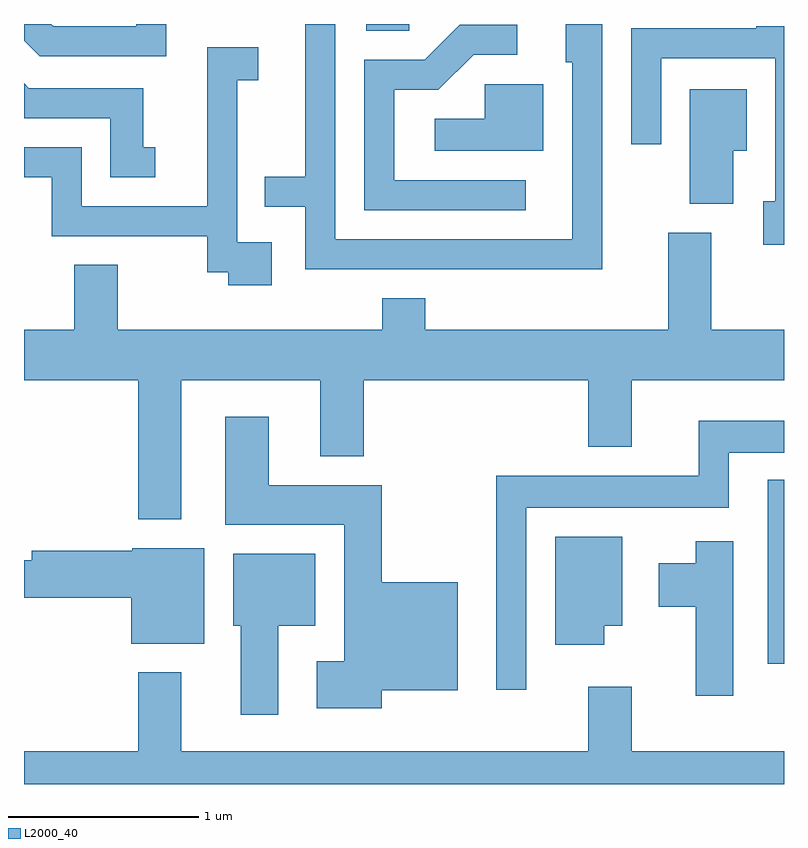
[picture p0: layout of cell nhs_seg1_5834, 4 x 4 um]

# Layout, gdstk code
import gdstk
lib = gdstk.Library(unit=1e-6, precision=1e-09)
def R(c, l, rs):  # rectangles x0, y0, x1, y1
    for r in rs: c.add(gdstk.rectangle(r[:2], r[2:], *l))
def P(c, l, *ps):  # polygons
    for p in ps: c.add(gdstk.Polygon(p, *l))
L2000_40 = (2000, 40)

nhs_seg1_5834 = lib.new_cell('nhs_seg1_5834')
R(nhs_seg1_5834, L2000_40, [(365.526,860.346,365.611,861.313), (363.411,863.676,363.639,863.712)])
P(nhs_seg1_5834, L2000_40, [(362.359,863.712),(362.201,863.712),(362.201,863.699),(361.767,863.699),(361.754,863.712),(361.611,863.712),(361.611,863.624),(361.694,863.541),(362.359,863.541)],
  [(364.654,863.712),(364.461,863.712),(364.461,863.511),(364.496,863.511),(364.496,862.579),(363.249,862.579),(363.249,863.712),(363.091,863.712),(363.091,862.909),(362.878,862.909),(362.878,862.751),(363.091,862.751),(363.091,862.421),(364.654,862.421)],
  [(364.253,862.889),(363.559,862.889),(363.559,863.366),(363.792,863.366),(363.977,863.551),(364.208,863.551),(364.208,863.709),(363.904,863.709),(363.719,863.524),(363.401,863.524),(363.401,862.731),(364.253,862.731)],
  [(365.611,863.699),(365.465,863.699),(365.465,863.689),(364.806,863.689),(364.806,863.078),(364.964,863.078),(364.964,863.531),(365.566,863.531),(365.566,862.779),(365.501,862.779),(365.501,862.551),(365.611,862.551)],
  [(362.914,862.564),(362.734,862.564),(362.734,863.416),(362.844,863.416),(362.844,863.589),(362.576,863.589),(362.576,862.754),(361.914,862.754),(361.914,863.064),(361.611,863.064),(361.611,862.906),(361.756,862.906),(361.756,862.596),(362.576,862.596),(362.576,862.406),(362.686,862.406),(362.686,862.336),(362.914,862.336)],
  [(362.303,863.064),(362.239,863.064),(362.239,863.374),(361.637,863.374),(361.611,863.4),(361.611,863.216),(362.066,863.216),(362.066,862.906),(362.303,862.906)],
  [(364.344,863.394),(364.036,863.394),(364.036,863.214),(363.773,863.214),(363.773,863.046),(364.344,863.046)],
  [(365.344,863.046),(365.414,863.046),(365.414,863.369),(365.116,863.369),(365.116,862.766),(365.344,862.766)],
  [(362.439,861.836),(363.171,861.836),(363.171,861.436),(363.399,861.436),(363.399,861.836),(364.581,861.836),(364.581,861.486),(364.809,861.486),(364.809,861.836),(365.611,861.836),(365.611,862.104),(365.229,862.104),(365.229,862.614),(365.001,862.614),(365.001,862.104),(363.724,862.104),(363.724,862.269),(363.496,862.269),(363.496,862.104),(362.104,862.104),(362.104,862.444),(361.876,862.444),(361.876,862.104),(361.611,862.104),(361.611,861.836),(362.211,861.836),(362.211,861.106),(362.439,861.106)],
  [(363.494,860.206),(363.894,860.206),(363.894,860.774),(363.494,860.774),(363.494,861.284),(362.899,861.284),(362.899,861.644),(362.671,861.644),(362.671,861.076),(363.296,861.076),(363.296,860.359),(363.151,860.359),(363.151,860.111),(363.494,860.111)],
  [(364.254,861.166),(365.319,861.166),(365.319,861.456),(365.611,861.456),(365.611,861.624),(365.161,861.624),(365.161,861.334),(364.096,861.334),(364.096,860.208),(364.254,860.208)],
  [(364.664,860.546),(364.759,860.546),(364.759,861.014),(364.406,861.014),(364.406,860.446),(364.664,860.446)],
  [(365.344,860.989),(365.146,860.989),(365.146,860.874),(364.951,860.874),(364.951,860.646),(365.146,860.646),(365.146,860.176),(365.344,860.176)],
  [(362.559,860.954),(362.18,860.954),(362.18,860.939),(361.651,860.939),(361.651,860.889),(361.611,860.889),(361.611,860.691),(362.176,860.691),(362.176,860.451),(362.559,860.451)],
  [(362.949,860.546),(363.144,860.546),(363.144,860.924),(362.711,860.924),(362.711,860.546),(362.751,860.546),(362.751,860.076),(362.949,860.076)],
  [(365.611,859.884),(364.809,859.884),(364.809,860.224),(364.581,860.224),(364.581,859.884),(362.439,859.884),(362.439,860.299),(362.211,860.299),(362.211,859.884),(361.611,859.884),(361.611,859.712),(365.611,859.712)])

lib.write_gds('nhs_seg1_5834.gds')
